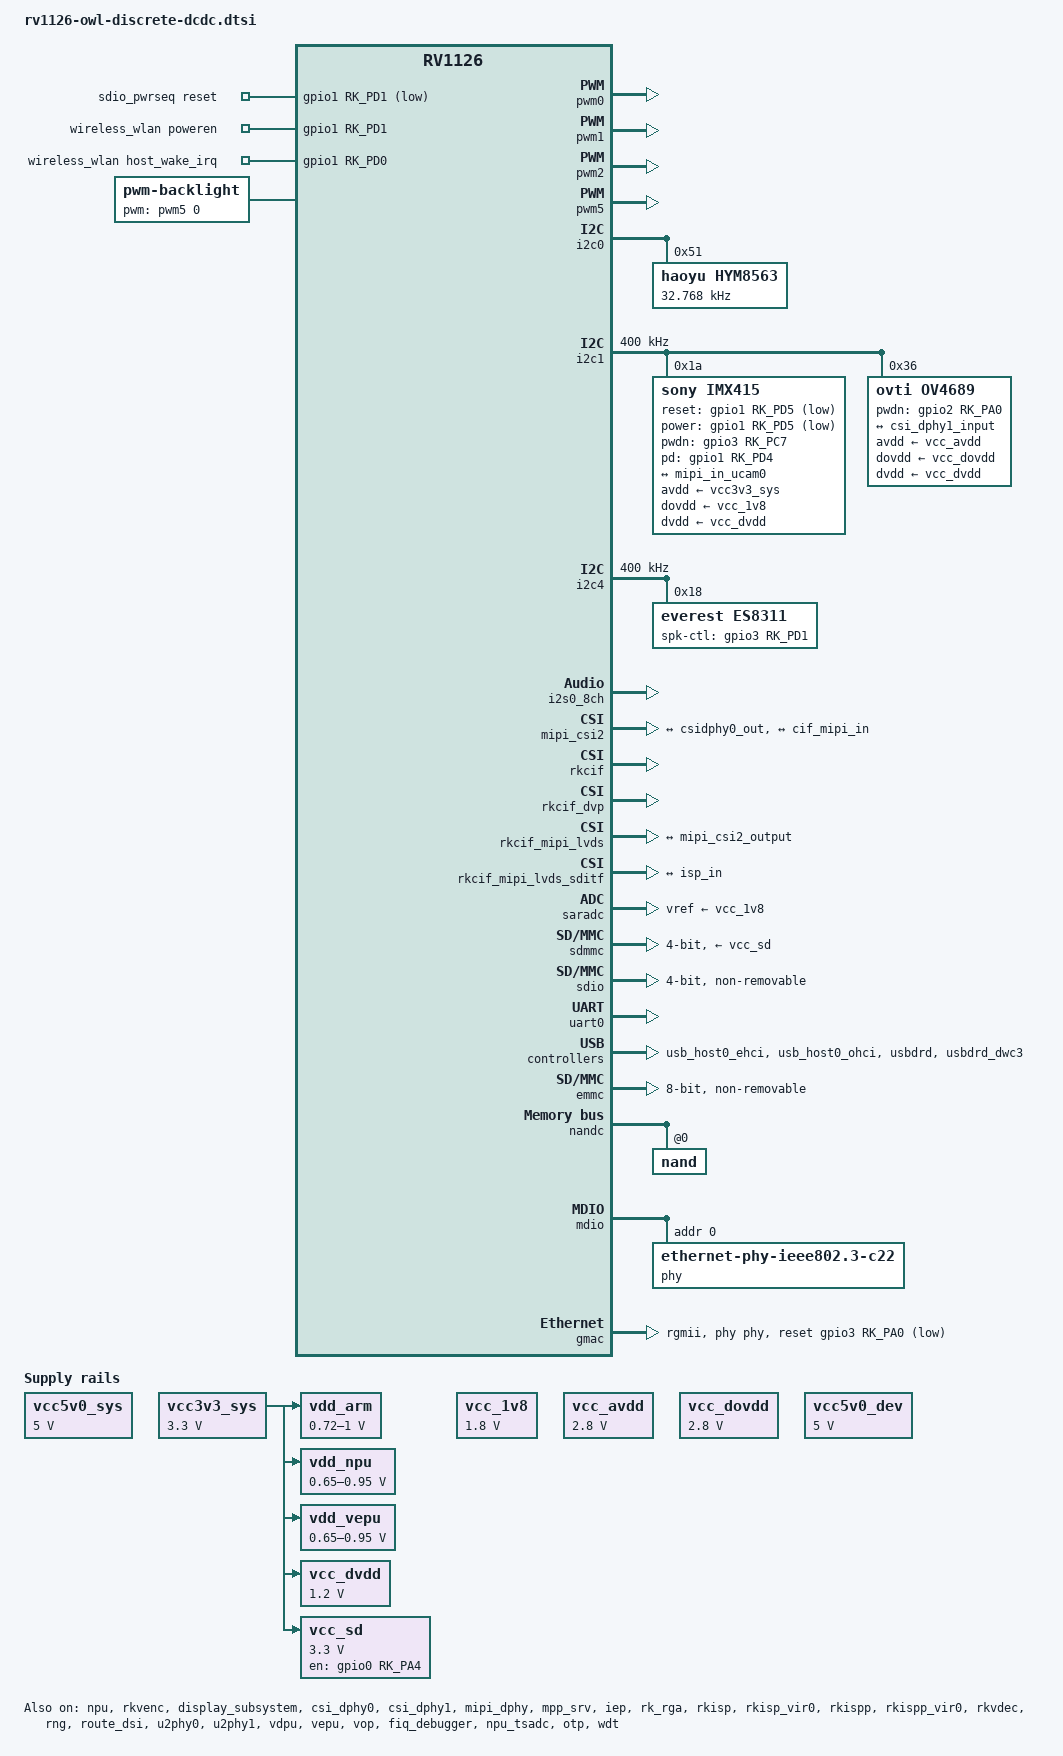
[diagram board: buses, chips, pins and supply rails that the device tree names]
// SPDX-License-Identifier: (GPL-2.0+ OR MIT)
/*
 * Copyright (c) 2020 Rockchip Electronics Co., Ltd.
 */

#include "rv1126.dtsi"
#include <dt-bindings/display/drm_mipi_dsi.h>
#include <dt-bindings/input/input.h>

/ {
	vcc5v0_sys: vcc5v0-sys {
		compatible = "regulator-fixed";
		regulator-name = "vcc5v0_sys";
		regulator-always-on;
		regulator-boot-on;
		regulator-min-microvolt = <5000000>;
		regulator-max-microvolt = <5000000>;
	};

	vcc3v3_sys: vcc33sys {
		compatible = "regulator-fixed";
		regulator-name = "vcc3v3_sys";
		regulator-always-on;
		regulator-boot-on;
		regulator-min-microvolt = <3300000>;
		regulator-max-microvolt = <3300000>;
	};

	vcc_1v8: vcc-1v8 {
		compatible = "regulator-fixed";
		regulator-name = "vcc_1v8";
		regulator-always-on;
		regulator-boot-on;
		regulator-min-microvolt = <1800000>;
		regulator-max-microvolt = <1800000>;
	};

	vdd_arm: vdd-arm {
		compatible = "pwm-regulator";
		pwms = <&pwm0 0 5000 1>;
		regulator-name = "vdd_arm";
		regulator-min-microvolt = <720000>;
		regulator-max-microvolt = <1000000>;
		regulator-init-microvolt = <825000>;
		regulator-always-on;
		regulator-boot-on;
        regulator-settling-time-up-us = <250>;
		pwm-supply = <&vcc3v3_sys>;
		status = "okay";
	};

	vdd_npu: vdd-npu {
		compatible = "pwm-regulator";
		pwms = <&pwm1 0 5000 1>;
		regulator-name = "vdd_npu";
		regulator-min-microvolt = <650000>;
		regulator-max-microvolt = <950000>;
		regulator-init-microvolt = <825000>;
		regulator-always-on;
		regulator-boot-on;
		regulator-settling-time-up-us = <250>;
		pwm-supply = <&vcc3v3_sys>;
		status = "okay";
	};

	vdd_vepu: vdd-vepu {
		compatible = "pwm-regulator";
		pwms = <&pwm2 0 5000 1>;
		regulator-name = "vdd_vepu";
		regulator-min-microvolt = <650000>;
		regulator-max-microvolt = <950000>;
		regulator-init-microvolt = <800000>;
		regulator-always-on;
		regulator-boot-on;
		regulator-settling-time-up-us = <250>;
		pwm-supply = <&vcc3v3_sys>;
		status = "okay";
	};

	vcc_dvdd: vcc-dvdd {
		compatible = "regulator-fixed";
		regulator-name = "vcc_dvdd";
		regulator-always-on;
		regulator-boot-on;
		vin-supply = <&vcc3v3_sys>;
		enable-active-high;
		startup-delay-us = <100000>;
		regulator-min-microvolt = <1200000>;
		regulator-max-microvolt = <1200000>;
	};

	vcc_avdd: vcc-avdd {
		compatible = "regulator-fixed";
		regulator-name = "vcc_avdd";
		regulator-always-on;
		regulator-boot-on;
		regulator-min-microvolt = <2800000>;
		regulator-max-microvolt = <2800000>;
	};

	vcc_dovdd: vcc-dovdd {
		compatible = "regulator-fixed";
		regulator-name = "vcc_dovdd";
		regulator-always-on;
		regulator-boot-on;
		regulator-min-microvolt = <2800000>;
		regulator-max-microvolt = <2800000>;
	};

	vcc_sd: vcc-sd {
		compatible = "regulator-fixed";
		gpio = <&gpio0 RK_PA4 GPIO_ACTIVE_HIGH>;
		pinctrl-names = "default";
		pinctrl-0 = <&sdmmc_pwr>;
		regulator-name = "vcc_sd";
		regulator-min-microvolt = <3300000>;
		regulator-max-microvolt = <3300000>;
		startup-delay-us = <100000>;
		vin-supply = <&vcc3v3_sys>;
		enable-active-high;
	};

	vcc5v0_dev: vcc5v0-dev {
		compatible = "regulator-fixed";
		regulator-name = "vcc5v0_dev";
		enable-active-high;
		regulator-always-on;
		regulator-boot-on;
		regulator-min-microvolt = <5000000>;
		regulator-max-microvolt = <5000000>;
	};

	sdio_pwrseq: sdio-pwrseq {
		compatible = "mmc-pwrseq-simple";
        clocks = <&hym8563>;
        clock-names = "ext_clock";
		pinctrl-names = "default";
        pinctrl-0 = <&wifi_enable_h>;

		/*
		 * On the module itself this is one of these (depending
		 * on the actual card populated):
		 * - SDIO_RESET_L_WL_REG_ON
		 * - PDN (power down when low)
		 */
        reset-gpios = <&gpio1 RK_PD1 GPIO_ACTIVE_LOW>;
	};

	wireless_wlan: wireless-wlan {
		compatible = "wlan-platdata";
		rockchip,grf = <&grf>;
        clocks = <&hym8563>;
		clock-names = "clk_wifi";
		pinctrl-names = "default";
		pinctrl-0 = <&wifi_wake_host>;
        wifi_chip_type = "rtl8189fs";
        WIFI,poweren_gpio = <&gpio1 RK_PD1 GPIO_ACTIVE_HIGH>;
		WIFI,host_wake_irq = <&gpio1 RK_PD0 GPIO_ACTIVE_HIGH>;
		status = "okay";
	};

	i2s0_sound: i2s0-sound {
		status = "okay";
		compatible = "simple-audio-card";
		simple-audio-card,format = "i2s";
		simple-audio-card,mclk-fs = <256>;
		simple-audio-card,name = "rockchip,i2s0-sound";
		simple-audio-card,cpu {
			sound-dai = <&i2s0_8ch>;
		};
		simple-audio-card,codec {
			sound-dai = <&es8311>;
		};
	};

	backlight: backlight {
		compatible = "pwm-backlight";
		pwms = <&pwm5 0 25000 0>;
		brightness-levels = <
			  0   1   2   3   4   5   6   7
			  8   9  10  11  12  13  14  15
			 16  17  18  19  20  21  22  23
			 24  25  26  27  28  29  30  31
			 32  33  34  35  36  37  38  39
			 40  41  42  43  44  45  46  47
			 48  49  50  51  52  53  54  55
			 56  57  58  59  60  61  62  63
			 64  65  66  67  68  69  70  71
			 72  73  74  75  76  77  78  79
			 80  81  82  83  84  85  86  87
			 88  89  90  91  92  93  94  95
			 96  97  98  99 100 101 102 103
			104 105 106 107 108 109 110 111
			112 113 114 115 116 117 118 119
			120 121 122 123 124 125 126 127
			128 129 130 131 132 133 134 135
			136 137 138 139 140 141 142 143
			144 145 146 147 148 149 150 151
			152 153 154 155 156 157 158 159
			160 161 162 163 164 165 166 167
			168 169 170 171 172 173 174 175
			176 177 178 179 180 181 182 183
			184 185 186 187 188 189 190 191
			192 193 194 195 196 197 198 199
			200 201 202 203 204 205 206 207
			208 209 210 211 212 213 214 215
			216 217 218 219 220 221 222 223
			224 225 226 227 228 229 230 231
			232 233 234 235 236 237 238 239
			240 241 242 243 244 245 246 247
			248 249 250 251 252 253 254 255>;
		default-brightness-level = <200>;
	};
};

&pwm0 {
	status = "okay";
	pinctrl-names = "active";
	pinctrl-0 = <&pwm0m0_pins_pull_down>;
};

&pwm1 {
	status = "okay";
	pinctrl-names = "active";
	pinctrl-0 = <&pwm1m0_pins_pull_down>;
};

&pwm2 {
	status = "okay";
	pinctrl-names = "active";
	pinctrl-0 = <&pwm2m0_pins_pull_down>;
};

&pwm5 {
	status = "okay";
	pinctrl-names = "active";
	pinctrl-0 = <&pwm5m0_pins_pull_down>;
};

&cpu0 {
	status = "okay";
	cpu-supply = <&vdd_arm>;
};

&npu {
	status = "okay";
	npu-supply = <&vdd_npu>;
};

&rkvenc {
	status = "okay";
	venc-supply = <&vdd_vepu>;
};

&cpu_tsadc {
	status = "okay";
};

&pinctrl {
	es8311 {
		spk_ctl: spk-ctl {
			rockchip,pins = <3 RK_PD1 0 &pcfg_pull_none>;
		};
	};

	sdmmc-pwr {
		/omit-if-no-ref/
		sdmmc_pwr: sdmmc-pwr {
			rockchip,pins = <0 RK_PA4 RK_FUNC_GPIO &pcfg_pull_none>;
		};
	};

	sdio-pwrseq {
		/omit-if-no-ref/
		wifi_enable_h: wifi-enable-h {
			rockchip,pins = <1 RK_PD1 RK_FUNC_GPIO &pcfg_pull_none>;
		};
	};

	wireless-wlan {
		/omit-if-no-ref/
		wifi_wake_host: wifi-wake-host {
			rockchip,pins = <1 RK_PD0 0 &pcfg_pull_up>;
		};
	};
};

&pmu_io_domains {
	status = "okay";

	pmuio0-supply = <&vcc3v3_sys>;
	pmuio1-supply = <&vcc3v3_sys>;
	vccio2-supply = <&vcc3v3_sys>;
	vccio3-supply = <&vcc3v3_sys>;
	vccio4-supply = <&vcc_1v8>;
	vccio5-supply = <&vcc3v3_sys>;
	vccio6-supply = <&vcc3v3_sys>;
	vccio7-supply = <&vcc3v3_sys>;
};

&i2c0 {
	status = "okay";

    hym8563: hym8563@51 {
        compatible = "haoyu,hym8563";
		reg = <0x51>;
		#clock-cells = <0>;
		clock-frequency = <32768>;
		clock-output-names = "xin32k";
	};
};

&i2c1 {
	status = "okay";
	clock-frequency = <400000>;

	imx415: imx415@1a {
		   compatible = "sony,imx415";
		   reg = <0x1a>;
		   clocks = <&cru CLK_MIPICSI_OUT>;
		   clock-names = "xvclk";
		   power-domains = <&power RV1126_PD_VI>;
		   pinctrl-names = "rockchip,camera_default";
		   pinctrl-0 = <&mipicsi_clk0>;
		   avdd-supply = <&vcc3v3_sys>;
		   dovdd-supply = <&vcc_1v8>;
		   dvdd-supply = <&vcc_dvdd>;
		   reset-gpios = <&gpio1 RK_PD5 GPIO_ACTIVE_LOW>;
		   power-gpios = <&gpio1 RK_PD5 GPIO_ACTIVE_LOW>;
           pwdn-gpios = <&gpio3 RK_PC7 GPIO_ACTIVE_HIGH>;
           pd-gpios = <&gpio1 RK_PD4 GPIO_ACTIVE_HIGH>;
		   rockchip,camera-module-index = <1>;
		   rockchip,camera-module-facing = "front";
		   rockchip,camera-module-name = "YT10092";
		   rockchip,camera-module-lens-name = "IR0147-60IRC-8M-F20";
		   ir-cut = <&cam_ircut0>;
		   port {
				   ucam_out0: endpoint {
						   remote-endpoint = <&mipi_in_ucam0>;
						   data-lanes = <1 2 3 4>;
				   };
		   };
	};

	ov4689: ov4689@36 {
		compatible = "ovti,ov4689";
		reg = <0x36>;
		clocks = <&cru CLK_MIPICSI_OUT>;
		clock-names = "xvclk";
		power-domains = <&power RV1126_PD_VI>;
		pinctrl-names = "rockchip,camera_default";
		pinctrl-0 = <&mipicsi_clk1>;
		avdd-supply = <&vcc_avdd>;
		dovdd-supply = <&vcc_dovdd>;
		dvdd-supply = <&vcc_dvdd>;
        pwdn-gpios = <&gpio2 RK_PA0 GPIO_ACTIVE_HIGH>;
		rockchip,camera-module-index = <1>;
		rockchip,camera-module-facing = "front";
		rockchip,camera-module-name = "JSD3425-C1";
		rockchip,camera-module-lens-name = "JSD3425-C1";
		/* NO_HDR:0 HDR_X2:5 HDR_X3:6 */
		rockchip,camera-hdr-mode = <0>;
		port {
			ucam_out1: endpoint {
				remote-endpoint = <&csi_dphy1_input>;
				data-lanes = <1 2 3 4>;
			};
		};

	};
};

&i2c4 {
	status = "okay";
	clock-frequency = <400000>;
	pinctrl-0 = <&i2c4m1_xfer>;

	es8311: es8311@18 {
		compatible = "everest,es8311";
		reg = <0x18>;
		clocks = <&cru MCLK_I2S0_TX_OUT2IO>;
		clock-names = "mclk";
		adc-pga-gain = <0x0a>;  /* 18dB */
		adc-volume = <0xff>;  /* 0dB */
		dac-volume = <0xbf>;  /* 0dB */
		aec-mode = "dac left, adc right";
		pinctrl-names = "default";
		pinctrl-0 = <&i2s0m0_mclk &spk_ctl>;
		assigned-clocks = <&cru MCLK_I2S0_TX_OUT2IO>;
		assigned-clock-parents = <&cru MCLK_I2S0_TX>;
		spk-ctl-gpios = <&gpio3 RK_PD1 GPIO_ACTIVE_HIGH>;
		#sound-dai-cells = <0>;
	};
};

&i2s0_8ch {
	status = "okay";
	rockchip,clk-trcm = <1>;
	#sound-dai-cells = <0>;
	pinctrl-0 = <&i2s0m0_sclk_tx
		     &i2s0m0_lrck_tx
		     &i2s0m0_sdi0
		     &i2s0m0_sdo0>;
};

&display_subsystem {
	status = "okay";
};

&dsi {
	status = "disabled";
};

&csi_dphy0 {
	status = "okay";

	ports {
		#address-cells = <1>;
		#size-cells = <0>;
		port@0 {
			reg = <0>;
			#address-cells = <1>;
			#size-cells = <0>;

			mipi_in_ucam0: endpoint@1 {
				reg = <1>;
				remote-endpoint = <&ucam_out0>;
				data-lanes = <1 2 3 4>;
			};
		};
		port@1 {
			reg = <1>;
			#address-cells = <1>;
			#size-cells = <0>;

			csidphy0_out: endpoint@0 {
				reg = <0>;
				remote-endpoint = <&mipi_csi2_input>;
			};
		};
	};
};

&csi_dphy1 {
	status = "okay";

	ports {
		#address-cells = <1>;
		#size-cells = <0>;

		port@0 {
			reg = <0>;
			#address-cells = <1>;
			#size-cells = <0>;

			csi_dphy1_input: endpoint@1 {
				reg = <1>;
				remote-endpoint = <&ucam_out1>;
				data-lanes = <1 2 3 4>;
			};
		};

		port@1 {
			reg = <1>;
			#address-cells = <1>;
			#size-cells = <0>;

			csi_dphy1_output: endpoint@0 {
				reg = <0>;
				/*remote-endpoint = <&mipi_csi2_input>;*/
				data-lanes = <1 2 3 4>;
			};
		};
	};
};

&mipi_csi2 {
	status = "okay";

	ports {
		#address-cells = <1>;
		#size-cells = <0>;

		port@0 {
			reg = <0>;
			#address-cells = <1>;
			#size-cells = <0>;

			mipi_csi2_input: endpoint@1 {
				reg = <1>;
				remote-endpoint = <&csidphy0_out>;
				data-lanes = <1 2 3 4>;
			};
		};

		port@1 {
			reg = <1>;
			#address-cells = <1>;
			#size-cells = <0>;

			mipi_csi2_output: endpoint@0 {
				reg = <0>;
				remote-endpoint = <&cif_mipi_in>;
				data-lanes = <1 2 3 4>;
			};
		};
	};
};

&mipi_dphy {
	status = "okay";
};

&mpp_srv {
	status = "okay";
};

&iep {
	status = "okay";
};

&iep_mmu {
	status = "okay";
};

&ramoops {
	status = "okay";
};

&rk_rga {
	status = "okay";
};

&rkcif {
	status = "okay";
};

&rkcif_mmu {
	status = "disabled";
};

&rkcif_dvp {
	status = "okay";

	port {
		/* Parallel bus endpoint */
		/*
		cif_para_in: endpoint {
			remote-endpoint = <&cam_para_out1>;
			bus-width = <12>;
			hsync-active = <1>;
			vsync-active = <0>;
		};
		*/
	};
};

&rkcif_mipi_lvds {
	status = "okay";

	port {
		/* MIPI CSI-2 endpoint */
		cif_mipi_in: endpoint {
			remote-endpoint = <&mipi_csi2_output>;
			data-lanes = <1 2 3 4>;
		};
	};
};

&rkcif_mipi_lvds_sditf {
	status = "okay";

	port {
		/* MIPI CSI-2 endpoint */
		mipi_lvds_sditf: endpoint {
			remote-endpoint = <&isp_in>;
			data-lanes = <1 2 3 4>;
		};
	};
};

&rkisp {
	status = "okay";
};

&rkisp_vir0 {
	status = "okay";

	ports {
		port@0 {
			reg = <0>;
			#address-cells = <1>;
			#size-cells = <0>;

			isp_in: endpoint@0 {
				reg = <0>;
				remote-endpoint = <&mipi_lvds_sditf>;
			};
		};
	};
};

&rkisp_mmu {
	status = "disabled";
};

&rkispp {
	status = "okay";
	/* the max input w h and fps of mulit sensor */
	//max-input = <2688 1520 30>;
};

&rkispp_vir0 {
	status = "okay";
};

&rkispp_mmu {
	status = "okay";
};

&rkvdec {
	status = "okay";
};

&rkvdec_mmu {
	status = "okay";
};

&rkvenc_mmu {
	status = "okay";
};

&rng {
	status = "okay";
};

&route_dsi {
	status = "okay";
};

&saradc {
	status = "okay";
	vref-supply = <&vcc_1v8>;
};

&sdmmc {
	bus-width = <4>;
	cap-mmc-highspeed;
	cap-sd-highspeed;
	card-detect-delay = <200>;
	rockchip,default-sample-phase = <90>;
	supports-sd;
	sd-uhs-sdr12;
	sd-uhs-sdr25;
	sd-uhs-sdr104;
	vqmmc-supply = <&vcc3v3_sys>;
    vmmc-supply = <&vcc_sd>;
	status = "okay";
};

&sdio {
	max-frequency = <200000000>;
	bus-width = <4>;
	cap-sd-highspeed;
	cap-sdio-irq;
	keep-power-in-suspend;
	non-removable;
	rockchip,default-sample-phase = <90>;
	sd-uhs-sdr104;
	supports-sdio;
	mmc-pwrseq = <&sdio_pwrseq>;
	status = "okay";
};

&sfc {
	/delete-property/ pinctrl-names;
	/delete-property/ pinctrl-0;
	status = "disabled";
};

&u2phy0 {
	status = "okay";
	vup-gpios = <&gpio0 RK_PC1 GPIO_ACTIVE_LOW>;
	u2phy_otg: otg-port {
		status = "okay";
	};
};

&u2phy1 {
	status = "okay";
	u2phy_host: host-port {
		status = "okay";
		phy-supply = <&vcc5v0_dev>;
	};
};

&uart0 {
	pinctrl-names = "default";
	pinctrl-0 = <&uart0_xfer &uart0_ctsn>;
	status = "okay";
};

&usb_host0_ehci {
	status = "okay";
};

&usb_host0_ohci {
	status = "okay";
};

&usbdrd {
	status = "okay";
};

&usbdrd_dwc3 {
	status = "okay";
	extcon = <&u2phy0>;
};

&vdpu {
	status = "okay";
};

&vepu {
	status = "okay";
};

&vpu_mmu {
	status = "okay";
};

&vop {
	status = "okay";
};

&vop_mmu {
	status = "okay";
};

&emmc {
	bus-width = <8>;
	cap-mmc-highspeed;
	non-removable;
	mmc-hs200-1_8v;
	rockchip,default-sample-phase = <90>;
	supports-emmc;
	/delete-property/ pinctrl-names;
	/delete-property/ pinctrl-0;
	status = "okay";
};

&nandc {
	/delete-property/ pinctrl-names;
	/delete-property/ pinctrl-0;
	#address-cells = <1>;
	#size-cells = <0>;

	nand@0 {
		reg = <0>;
		nand-bus-width = <8>;
		nand-ecc-mode = "hw";
		nand-ecc-strength = <16>;
		nand-ecc-step-size = <1024>;
	};
};

&fiq_debugger {
	status = "okay";
};

&mdio {
	phy: phy@0 {
		compatible = "ethernet-phy-ieee802.3-c22";
		reg = <0x0>;
		clocks = <&cru CLK_GMAC_ETHERNET_OUT>;
	};
};

&gmac {
	phy-mode = "rgmii";
	clock_in_out = "input";

	snps,reset-gpio = <&gpio3 RK_PA0 GPIO_ACTIVE_LOW>;
	snps,reset-active-low;
	/* Reset time is 20ms, 100ms for rtl8211f */
	snps,reset-delays-us = <0 20000 100000>;

	assigned-clocks = <&cru CLK_GMAC_SRC>, <&cru CLK_GMAC_TX_RX>, <&cru CLK_GMAC_ETHERNET_OUT>;
	assigned-clock-parents = <&cru CLK_GMAC_SRC_M1>, <&cru RGMII_MODE_CLK>;
	assigned-clock-rates = <125000000>, <0>, <25000000>;

	pinctrl-names = "default";
	pinctrl-0 = <&rgmiim1_miim &rgmiim1_bus2 &rgmiim1_bus4 &clkm1_out_ethernet>;

	tx_delay = <0x2a>;
	rx_delay = <0x1a>;

	phy-handle = <&phy>;
	status = "okay";
};

&nandc {
	/delete-property/ pinctrl-names;
	/delete-property/ pinctrl-0;
	#address-cells = <1>;
	#size-cells = <0>;

	nand@0 {
		reg = <0>;
		nand-bus-width = <8>;
		nand-ecc-mode = "hw";
		nand-ecc-strength = <16>;
		nand-ecc-step-size = <1024>;
	};
};

&npu_tsadc {
	status = "okay";
};

&optee {
	status = "disabled";
};

&otp {
	status = "okay";
};

&pdm {
	status = "disabled";
	#sound-dai-cells = <0>;
	pinctrl-names = "default";
	pinctrl-0 = <&pdmm0_clk
		     &pdmm0_clk1
		     &pdmm0_sdi0
		     &pdmm0_sdi1
		     &pdmm0_sdi2>;
};

&rockchip_suspend {
	status = "okay";
	rockchip,sleep-debug-en = <1>;
	rockchip,sleep-mode-config = <
		(0
		| RKPM_SLP_ARMOFF
		| RKPM_SLP_PMU_PMUALIVE_32K
		| RKPM_SLP_PMU_DIS_OSC
		)
	>;
};

&sdmmc0_bus4 {
	rockchip,pins =
		/* sdmmc0_d0 */
		<1 RK_PA4 1 &pcfg_pull_up_drv_level_0>,
		/* sdmmc0_d1 */
		<1 RK_PA5 1 &pcfg_pull_up_drv_level_0>,
		/* sdmmc0_d2 */
		<1 RK_PA6 1 &pcfg_pull_up_drv_level_0>,
		/* sdmmc0_d3 */
		<1 RK_PA7 1 &pcfg_pull_up_drv_level_0>;
};

&sdmmc0_clk {
	rockchip,pins =
		/* sdmmc0_clk */
		<1 RK_PB0 1 &pcfg_pull_up_drv_level_3>;
};

&sdmmc0_cmd {
	rockchip,pins =
		/* sdmmc0_cmd */
		<1 RK_PB1 1 &pcfg_pull_up_drv_level_0>;
};

&soc_crit {
	/* millicelsius */
	temperature = <125000>;
};

&wdt {
	status = "okay";
};
